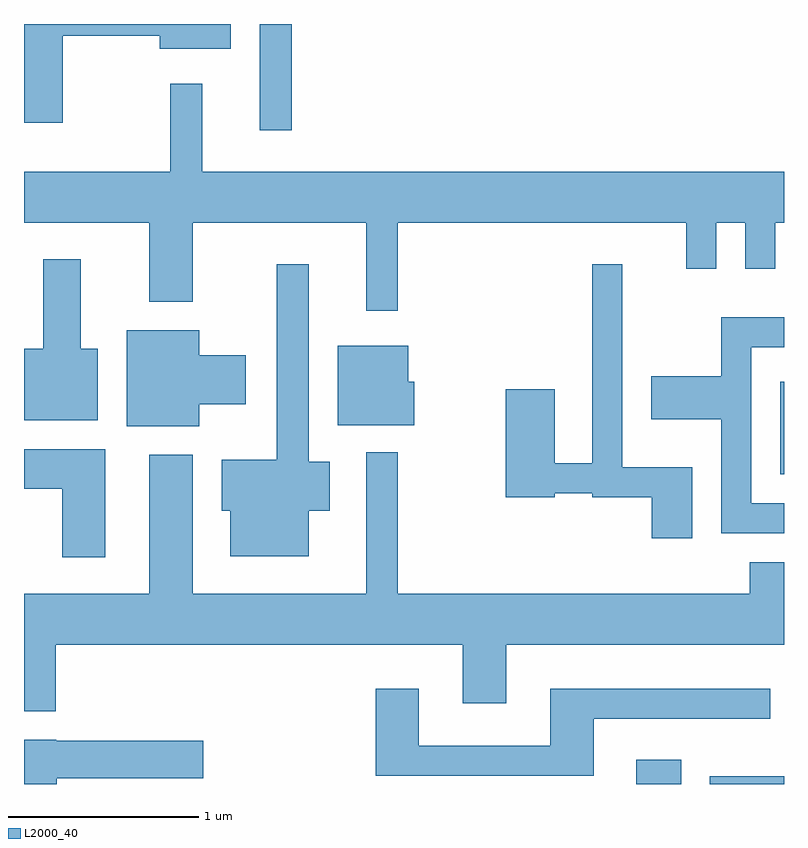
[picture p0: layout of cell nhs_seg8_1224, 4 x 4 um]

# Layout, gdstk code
import gdstk
lib = gdstk.Library(unit=1e-6, precision=1e-09)
def R(c, l, rs):  # rectangles x0, y0, x1, y1
    for r in rs: c.add(gdstk.rectangle(r[:2], r[2:], *l))
def P(c, l, *ps):  # polygons
    for p in ps: c.add(gdstk.Polygon(p, *l))
L2000_40 = (2000, 40)

nhs_seg8_1224 = lib.new_cell('nhs_seg8_1224')
R(nhs_seg8_1224, L2000_40, [(224.833,1842.342,225.069,1842.469), (225.221,1842.342,225.611,1842.384), (225.591,1843.971,225.611,1844.459), (222.851,1845.783,223.019,1846.342)])
P(nhs_seg8_1224, L2000_40, [(221.814,1846.281),(222.326,1846.281),(222.326,1846.211),(222.699,1846.211),(222.699,1846.342),(221.611,1846.342),(221.611,1845.821),(221.814,1845.821)],
  [(223.579,1845.296),(225.096,1845.296),(225.096,1845.053),(225.254,1845.053),(225.254,1845.296),(225.406,1845.296),(225.406,1845.053),(225.564,1845.053),(225.564,1845.296),(225.611,1845.296),(225.611,1845.564),(222.549,1845.564),(222.549,1846.028),(222.381,1846.028),(222.381,1845.564),(221.611,1845.564),(221.611,1845.296),(222.271,1845.296),(222.271,1844.881),(222.499,1844.881),(222.499,1845.296),(223.411,1845.296),(223.411,1844.833),(223.579,1844.833)],
  [(221.999,1844.634),(221.909,1844.634),(221.909,1845.104),(221.711,1845.104),(221.711,1844.634),(221.611,1844.634),(221.611,1844.256),(221.999,1844.256)],
  [(225.129,1844.009),(224.759,1844.009),(224.759,1845.078),(224.601,1845.078),(224.601,1844.029),(224.404,1844.029),(224.404,1844.419),(224.146,1844.419),(224.146,1843.851),(224.404,1843.851),(224.404,1843.871),(224.601,1843.871),(224.601,1843.851),(224.916,1843.851),(224.916,1843.636),(225.129,1843.636)],
  [(223.109,1843.781),(223.219,1843.781),(223.219,1844.039),(223.109,1844.039),(223.109,1845.078),(222.941,1845.078),(222.941,1844.049),(222.651,1844.049),(222.651,1843.781),(222.696,1843.781),(222.696,1843.541),(223.109,1843.541)],
  [(225.611,1843.819),(225.439,1843.819),(225.439,1844.641),(225.611,1844.641),(225.611,1844.799),(225.281,1844.799),(225.281,1844.489),(224.911,1844.489),(224.911,1844.261),(225.281,1844.261),(225.281,1843.661),(225.611,1843.661)],
  [(222.534,1844.341),(222.779,1844.341),(222.779,1844.599),(222.534,1844.599),(222.534,1844.729),(222.151,1844.729),(222.151,1844.226),(222.534,1844.226)],
  [(223.664,1844.459),(223.634,1844.459),(223.634,1844.649),(223.261,1844.649),(223.261,1844.231),(223.664,1844.231)],
  [(222.039,1844.104),(221.611,1844.104),(221.611,1843.896),(221.811,1843.896),(221.811,1843.536),(222.039,1843.536)],
  [(221.779,1843.076),(223.921,1843.076),(223.921,1842.766),(224.149,1842.766),(224.149,1843.076),(225.611,1843.076),(225.611,1843.509),(225.431,1843.509),(225.431,1843.344),(223.579,1843.344),(223.579,1844.088),(223.411,1844.088),(223.411,1843.344),(222.499,1843.344),(222.499,1844.074),(222.271,1844.074),(222.271,1843.344),(221.611,1843.344),(221.611,1842.726),(221.779,1842.726)],
  [(224.609,1842.686),(225.538,1842.686),(225.538,1842.844),(224.381,1842.844),(224.381,1842.544),(223.689,1842.544),(223.689,1842.844),(223.461,1842.844),(223.461,1842.386),(224.609,1842.386)],
  [(221.784,1842.371),(222.554,1842.371),(222.554,1842.569),(221.78,1842.569),(221.78,1842.574),(221.611,1842.574),(221.611,1842.342),(221.784,1842.342)])

lib.write_gds('nhs_seg8_1224.gds')
